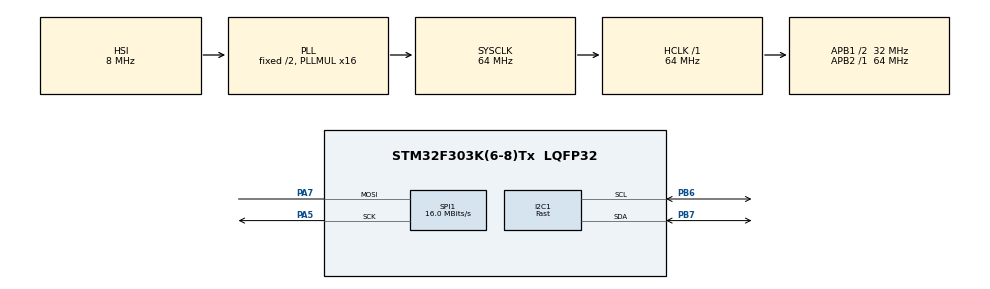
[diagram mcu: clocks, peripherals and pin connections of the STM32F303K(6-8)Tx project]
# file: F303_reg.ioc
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I2C1.I2C_Speed_Mode=I2C_Fast
I2C1.Timing=0x0000020B
Mcu.Family=STM32F3
Mcu.Name=STM32F303K(6-8)Tx
Mcu.Package=LQFP32
NVIC.PriorityGroup=NVIC_PRIORITYGROUP_4
PA13.Mode=Serial_Wire
PA13.Signal=SYS_JTMS-SWDIO
PA14.Mode=Serial_Wire
PA14.Signal=SYS_JTCK-SWCLK
PA5.Mode=Simplex_Bidirectional_Master
PA5.Signal=SPI1_SCK
PA7.Mode=Simplex_Bidirectional_Master
PA7.Signal=SPI1_MOSI
PB6.Mode=I2C
PB6.Signal=I2C1_SCL
PB7.Mode=I2C
PB7.Signal=I2C1_SDA
PF0\ /\ OSC_IN.Mode=HSE-External-Clock-Source
PF0\ /\ OSC_IN.Signal=RCC_OSC_IN
ProjectManager.HeapSize=0x200
ProjectManager.StackSize=0x400
ProjectManager.TargetToolchain=STM32CubeIDE
RCC.AHBFreq_Value=64000000
RCC.APB1CLKDivider=RCC_HCLK_DIV2
RCC.APB1Freq_Value=32000000
RCC.APB1TimFreq_Value=64000000
RCC.APB2Freq_Value=64000000
RCC.APB2TimFreq_Value=64000000
RCC.CortexFreq_Value=64000000
RCC.HCLKFreq_Value=64000000
RCC.HSE_VALUE=8000000
RCC.HSI_VALUE=8000000
RCC.PLLMUL=RCC_PLL_MUL16
RCC.SYSCLKFreq_VALUE=64000000
RCC.SYSCLKSourceVirtual=RCC_SYSCLKSOURCE_PLLCLK
SPI1.BaudRatePrescaler=SPI_BAUDRATEPRESCALER_4
SPI1.CalculateBaudRate=16.0 MBits/s
SPI1.Direction=SPI_DIRECTION_1LINE
SPI1.Mode=SPI_MODE_MASTER
SPI1.VirtualType=VM_MASTER
board=custom

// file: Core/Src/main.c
/* USER CODE BEGIN Header */
/**
  ******************************************************************************
  * @file           : main.c
  * @brief          : Main program body
  ******************************************************************************
  * @attention
  *
  * Copyright (c) 2023 STMicroelectronics.
  * All rights reserved.
  *
  * This software is licensed under terms that can be found in the LICENSE file
  * in the root directory of this software component.
  * If no LICENSE file comes with this software, it is provided AS-IS.
  *
  ******************************************************************************
  */
/* USER CODE END Header */
#include "main.h"
#include "i2c.h"
#include "spi.h"
#include "gpio.h"

/* USER CODE BEGIN Includes */
#include "RAL_main.h"
#include "ssd1306.h"
#include <stdio.h>
#include <stdlib.h>
#include <string.h>
#include <math.h>

#include "BME.h"
/* USER CODE END Includes */

/* USER CODE BEGIN PV */
char tMessage[16];
char hMessage[16];
char pMessagePa[16];
char pMessageHg[16];
char aMessage[16];
char dMessage[16];
//char adrMessage[] = 	 "Addr:";
char result;
//
//uint16_t xOffset = 2;
//uint16_t yOffset = 2;

float Temperature, Pressure, Humidity;

/* USER CODE END PV */

void SystemClock_Config(void);

int main(void)
{

  /* MCU Configuration--------------------------------------------------------*/

  /* Reset of all peripherals, Initializes the Flash interface and the Systick. */
  HAL_Init();

  /* Configure the system clock */
  SystemClock_Config();

  /* Initialize all configured peripherals */
  MX_GPIO_Init();
  MX_I2C1_Init();
  MX_SPI1_Init();
  /* USER CODE BEGIN 2 */
  ssd1306_Init();

  BME280_Config(OSRS_2, OSRS_16, OSRS_1, MODE_NORMAL, T_SB_0p5, IIR_16);
//  ssd1306_Fill(White);
//  ssd1306_UpdateScreen();

//  result = ssd1306_WriteString(temperature, Font_7x10, White);
//  ssd1306_SetCursor(3, 16);
//  result = ssd1306_WriteString(humidity, Font_7x10, White);
//  ssd1306_SetCursor(3, 26);
//  result = ssd1306_WriteString(pressure, Font_7x10, White);
//  ssd1306_SetCursor(3, 40);
//  result = ssd1306_WriteString(adrMessage, Font_7x10, White);
//  ssd1306_SetCursor(53, 40);
//  result = ssd1306_WriteString(addressesString, Font_7x10, White);
//  ssd1306_UpdateScreen();

//  void I2C_Scan(I2C_HandleTypeDef *hi2c) {
//      HAL_StatusTypeDef res;
//      char str[] = "00";
//      printf("Scanning I2C bus...\n");
//
//      for (uint8_t address = 1; address <= 127; address++) {
//          // The HAL_I2C_IsDeviceReady function checks if a device responds at a given address
//          res = HAL_I2C_IsDeviceReady(hi2c, address << 1, 1, 10);
//
//          if (res == HAL_OK) {
//        	      sprintf(str, "0x%01X", address);
//        	  	  ssd1306_SetCursor(xOffset, yOffset);
//        	  	  result = ssd1306_WriteString(str, Font_7x10, White);
//		  	  ssd1306_UpdateScreen();
//
//		  	  xOffset = xOffset + 30;
//		  	  if(xOffset > 112) {
//		  		  xOffset = 3;
//		  		  yOffset = yOffset + 12;
//		  	  }
//
//          }
//      }
//  }
//  I2C_Scan(&hi2c1);

//  void ssd1306_SetCursor(uint8_t x, uint8_t y);

  /* USER CODE END 2 */

  /* Infinite loop */
  /* USER CODE BEGIN WHILE */

//  PinConfig BTN_green = {0};
//  PinConfig LED_green1 = {0};
//  PinConfig LED_green2 = {0};
//  PinConfig LED_green3 = {0};
//  PinConfig LED_greenInternal = {0};
//
//  RAL_pinRegister(&BTN_green,
//				  GPIOB,
//				  4,
//				  INPUT,
//				  PUSH_PULL,
//				  LOW,
//				  PULL_DOWN,
//				  PIN_LOW);
//  RAL_pinRegister(&LED_green1,
//				  GPIOA,
//				  0,
//				  OUTPUT,
//				  PUSH_PULL,
//				  LOW,
//				  NO_PUPD,
//				  PIN_LOW);
//  RAL_pinRegister(&LED_green2,
//				  GPIOA,
//				  1,
//				  OUTPUT,
//				  PUSH_PULL,
//				  LOW,
//				  NO_PUPD,
//				  PIN_LOW);
//  RAL_pinRegister(&LED_green3,
//				  GPIOA,
//				  3,
//				  OUTPUT,
//				  PUSH_PULL,
//				  LOW,
//				  NO_PUPD,
//				  PIN_LOW);
//  RAL_pinRegister(&LED_greenInternal,
//				  GPIOB,
//				  3,
//				  OUTPUT,
//				  PUSH_PULL,
//				  LOW,
//				  NO_PUPD,
//				  PIN_LOW);

  while (1)
  {

	BME280_Measure();
//	if(Temperature>10) {
//		Temperature *= 100;
//		Pressure *=100;
//		Humidity *=100;
//		sprintf(tMessage, "T: %u.%02u C", ((unsigned int)Temperature /100),((unsigned int)Temperature %100));
//		sprintf(hMessage, "P: %u.%02u Pa", ((unsigned int)Pressure /100),((unsigned int)Pressure % 100));
//		sprintf(pMessage, "T: %u.%02u %%", ((unsigned int)Humidity /100),((unsigned int)Humidity %100));
////		sprintf((char *)buff, "%u.%02u C - %u.%02u Pa - %u.%02u %% \r\n",((unsigned int)Temperature /100),((unsigned int)Temperature %100),((unsigned int)Pressure /100),((unsigned int)Pressure % 100),((unsigned int)Humidity /100),((unsigned int)Humidity %100));
//	}
//	else {
//		sprintf(tMessage, "T: error");
//		sprintf(hMessage, "P: error");
//		sprintf(pMessage, "T: error");
//	}
	const double PA_TO_MMHG = 0.00750062;

	int tIntPart = (int)Temperature;
	int tDecimalPart = (int)((Temperature - tIntPart) * 100);
	int hIntPart = (int)Humidity;
	int hDecimalPart = (int)((Humidity - hIntPart) * 100);
//	int pIntPartPa = (int)Pressure;
//	int pDecimalPartPa = (int)((Pressure - pIntPartPa) * 100);
//	int pIntPartKpa = (int)(Pressure / 100);
//	int pDecimalPartKpa = (int)((Pressure / 100 - pIntPartKpa) * 100);

//	const double standardPressurePa = 101325.0;
//	const double mmHgConversionFactor = 760.0;

	double PressureMmHg = Pressure * PA_TO_MMHG;

	int pIntPartMmHg = (int)PressureMmHg;
	int pDecimalPartMmHg = (int)((PressureMmHg - pIntPartMmHg) * 100);

	const double T0 = 288.15;
	const double L = 0.0065;
	const double P0 = 101325.0;
	const double R = 287.05;
	const double g = 9.81;
	const double M = 0.0289644;

//	double Altitude = (T0 / L) * (1 - pow((Pressure / P0), (R * L) / g));
	double Pressure286 = P0 * pow(1 - (L * 286) / T0, (g * M) / (R * L)) * PA_TO_MMHG;

	double deltaPressure = ( PressureMmHg / Pressure286 ) * 100;

//	int aIntPart = (int)Altitude;
//	int aDecimalPart = (int)((Altitude - aIntPart) * 100);

	int dIntPart = (int)deltaPressure;
	int dDecimalPart = (int)((deltaPressure - dIntPart) * 100);

	sprintf(tMessage, "T  %d.%02d *C", tIntPart, tDecimalPart);
	sprintf(hMessage, "H  %d.%02d %%", hIntPart, hDecimalPart);
//	sprintf(pMessagePa, "P %d.%02dkPa", pIntPartKpa, pDecimalPartKpa);
	sprintf(pMessageHg, "P %d.%02d mmHg", pIntPartMmHg, pDecimalPartMmHg);
//	sprintf(aMessage, "A %d.%02dm", aIntPart, aDecimalPart);
	sprintf(dMessage, "P  %d.%02d %%", dIntPart, dDecimalPart);

//Sending out data
//	  	  HAL_UART_Transmit(&huart2,buff, strlen((char *)buff),HAL_MAX_DELAY);

	ssd1306_SetCursor(5, 3);
	result = ssd1306_WriteString(tMessage, Font_7x10, White);
	ssd1306_SetCursor(5, 15);
	result = ssd1306_WriteString(hMessage, Font_7x10, White);
	ssd1306_SetCursor(5, 27);
//	result = ssd1306_WriteString(pMessagePa, Font_7x10, White);
	result = ssd1306_WriteString(pMessageHg, Font_7x10, White);
	ssd1306_SetCursor(5, 39);
	result = ssd1306_WriteString(dMessage, Font_7x10, White);
//	ssd1306_SetCursor(5, 51);
//	result = ssd1306_WriteString(aMessage, Font_7x10, White);
	ssd1306_UpdateScreen();
//
//
//	HAL_Delay(750);

	HAL_Delay(500);

    /* USER CODE END WHILE */

  }
}

void SystemClock_Config(void)
{
  RCC_OscInitTypeDef RCC_OscInitStruct = {0};
  RCC_ClkInitTypeDef RCC_ClkInitStruct = {0};
  RCC_PeriphCLKInitTypeDef PeriphClkInit = {0};

  /** Initializes the RCC Oscillators according to the specified parameters
  * in the RCC_OscInitTypeDef structure.
  */
  RCC_OscInitStruct.OscillatorType = RCC_OSCILLATORTYPE_HSI;
  RCC_OscInitStruct.HSIState = RCC_HSI_ON;
  RCC_OscInitStruct.HSICalibrationValue = RCC_HSICALIBRATION_DEFAULT;
  RCC_OscInitStruct.PLL.PLLState = RCC_PLL_ON;
  RCC_OscInitStruct.PLL.PLLSource = RCC_PLLSOURCE_HSI;
  RCC_OscInitStruct.PLL.PLLMUL = RCC_PLL_MUL16;
  if (HAL_RCC_OscConfig(&RCC_OscInitStruct) != HAL_OK)
  {
    Error_Handler();
  }

  /** Initializes the CPU, AHB and APB buses clocks
  */
  RCC_ClkInitStruct.ClockType = RCC_CLOCKTYPE_HCLK|RCC_CLOCKTYPE_SYSCLK
                              |RCC_CLOCKTYPE_PCLK1|RCC_CLOCKTYPE_PCLK2;
  RCC_ClkInitStruct.SYSCLKSource = RCC_SYSCLKSOURCE_PLLCLK;
  RCC_ClkInitStruct.AHBCLKDivider = RCC_SYSCLK_DIV1;
  RCC_ClkInitStruct.APB1CLKDivider = RCC_HCLK_DIV2;
  RCC_ClkInitStruct.APB2CLKDivider = RCC_HCLK_DIV1;

  if (HAL_RCC_ClockConfig(&RCC_ClkInitStruct, FLASH_LATENCY_2) != HAL_OK)
  {
    Error_Handler();
  }
  PeriphClkInit.PeriphClockSelection = RCC_PERIPHCLK_I2C1;
  PeriphClkInit.I2c1ClockSelection = RCC_I2C1CLKSOURCE_HSI;
  if (HAL_RCCEx_PeriphCLKConfig(&PeriphClkInit) != HAL_OK)
  {
    Error_Handler();
  }
}

void Error_Handler(void)
{
  __disable_irq();
  while (1)
  {
  }
}
